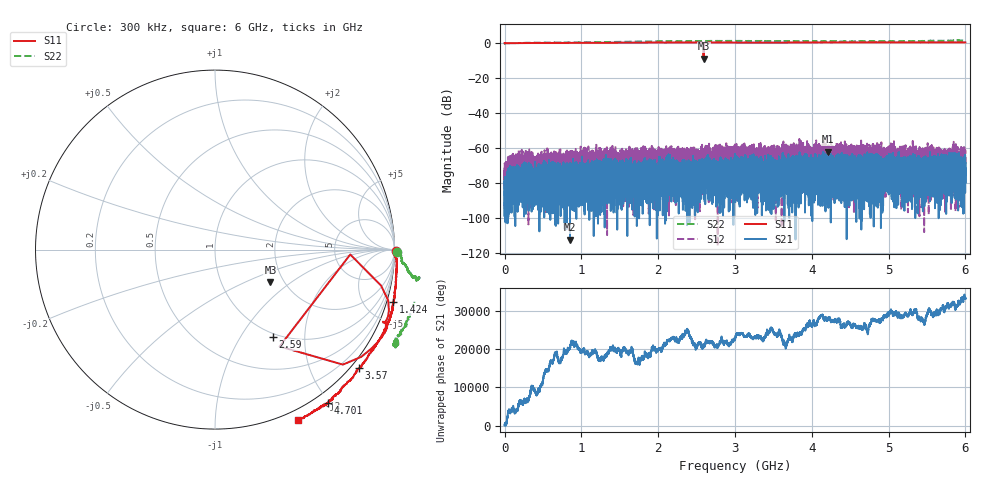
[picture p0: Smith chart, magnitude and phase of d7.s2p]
!Agilent Technologies,N5230C,SG49000117,A.08.50.07
!Agilent N5230C: A.08.50.07
!Date: Thursday, May 16, 2024 17:42:58
!Correction: S11(Full 2 Port(1,2))
!S21(Full 2 Port(1,2))
!S12(Full 2 Port(1,2))
!S22(Full 2 Port(1,2))
!S2P File: Measurements: S11, S21, S12, S22:
# Hz S  MA  R 50
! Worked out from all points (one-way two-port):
!   20001 points, 300 kHz to 6 GHz, reference 50 ohm
!   highest |S21| = -62.00 dB at 4.21 GHz (marker M1); lowest = -112.2 dB at 852 MHz (marker M2)
!   lowest |S11| = -8.9 dB at 2.591 GHz (marker M3), VSWR 2.12, Z = 85.3 - j35.5 ohm
!   |S11| at or under -10 dB: nowhere
!   |S22| runs from -0.3 to 1.6 dB; largest |S21 - S12| = 0.0019
!   S11 on the Smith chart (normalised r, x): 300 kHz: open; 1.424 GHz: -0.86, -6.82; 2.59 GHz: 0.95, -1.40; 3.57 GHz: -0.17, -2.78; 4.701 GHz: -0.14, -1.97; 6 GHz: -0.10, -1.59
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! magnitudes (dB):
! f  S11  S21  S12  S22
! 300 kHz  0.1  -76.8  -78.3  0.1
! 88.2 MHz  0.0  -73.6  -79.6  0.0
! 852 MHz  0.2  -112.2  -69.7  0.4
! 1 GHz  0.2  -74.0  -76.7  0.5
! 1.424 GHz  0.3  -74.0  -71.6  0.7
! 2 GHz  0.4  -81.5  -74.2  1.1
! 2.137 GHz  0.4  -70.7  -72.2  1.2
! 2.281 GHz  0.4  -71.3  -76.1  1.2
! 2.59 GHz  -4.7  -69.9  -77.9  1.3
! 2.591 GHz  -8.9  -69.6  -73.4  1.3
! 3 GHz  0.4  -70.4  -78.9  1.3
! 3.57 GHz  0.3  -74.0  -73.5  1.2
! 4 GHz  0.4  -75.8  -62.9  1.2
! 4.21 GHz  0.4  -62.0  -75.7  1.1
! 4.562 GHz  0.5  -70.7  -66.7  1.1
! 4.701 GHz  0.5  -66.8  -64.4  1.0
! 4.928 GHz  0.5  -71.2  -82.9  1.1
! 5 GHz  0.5  -67.2  -68.8  1.1
! 5.102 GHz  0.5  -72.3  -75.4  1.1
! 5.864 GHz  0.5  -72.2  -71.1  1.5
! 5.971 GHz  0.5  -70.0  -64.4  1.5
! 6 GHz  0.5  -71.5  -74.6  1.5
